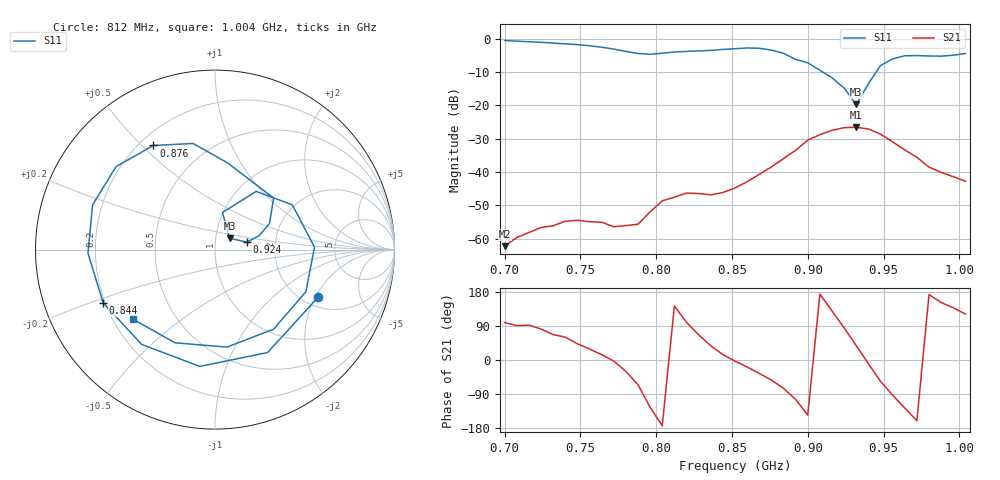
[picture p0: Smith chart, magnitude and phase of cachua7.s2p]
# Hz S RI R 50
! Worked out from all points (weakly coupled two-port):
!   39 points, 700 MHz to 1.004 GHz, reference 50 ohm
!   highest |S21| = -26.55 dB at 932 MHz (marker M1); lowest = -62.2 dB at 700 MHz (marker M2)
!   lowest |S11| = -19.7 dB at 932 MHz (marker M3), VSWR 1.23, Z = 58.3 + j7.51 ohm
!   |S11| at or under -10 dB: 909.9 MHz to 945.1 MHz (35.23 MHz wide, 3.8 % of centre)
!   S12 and S22 are empty: the file has one direction only
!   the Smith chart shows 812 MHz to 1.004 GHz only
!   S11 on the Smith chart (normalised r, x): 812 MHz: 2.37, -2.11; 844 MHz: 0.19, -0.22; 876 MHz: 0.26, +0.54; 924 MHz: 1.42, +0.12; 1.004 GHz: 0.28, -0.34
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7e8  0.7572 0.5587  -0.000119 0.000767  0 0  0 0
7.24e8  0.8488 -0.245  0.000211 0.00146  0 0  0 0
7.4e8  0.4595 -0.701  0.000909 0.00159  0 0  0 0
7.56e8  -0.19 -0.762  0.00158 0.000874  0 0  0 0
7.72e8  -0.6674 -0.2073  0.00151 -7.27e-05  0 0  0 0
7.8e8  -0.6057 0.2206  0.00137 -0.000788  0 0  0 0
7.88e8  -0.2654 0.5385  0.000694 -0.0015  0 0  0 0
7.96e8  0.2246 0.5392  -0.00144 -0.00209  0 0  0 0
8.04e8  0.572 0.1983  -0.00369 -0.000416  0 0  0 0
8.12e8  0.5735 -0.2665  -0.00335 0.00256  0 0  0 0
8.28e8  -0.0847 -0.6508  0.0019 0.00439  0 0  0 0
8.44e8  -0.6234 -0.2963  0.00478 0.00123  0 0  0 0
8.52e8  -0.7077 -0.0197  0.00577 -0.000299  0 0  0 0
8.76e8  -0.3427 0.5804  0.00723 -0.00955  0 0  0 0
9e8  0.3268 0.2869  -0.0248 -0.0171  0 0  0 0
9.08e8  0.3033 0.145  -0.0362 0.00389  0 0  0 0
9.24e8  0.1769 0.0413  0.00431 0.0461  0 0  0 0
9.32e8  0.0813 0.0637  0.0371 0.0289  0 0  0 0
9.56e8  0.4309 0.2495  -0.0014 -0.0284  0 0  0 0
9.64e8  0.5543 0.0136  -0.0129 -0.0172  0 0  0 0
9.8e8  0.3267 -0.4435  -0.0118 0.00154  0 0  0 0
1.004e9  -0.4588 -0.3866  -0.00381 0.00623  0 0  0 0
